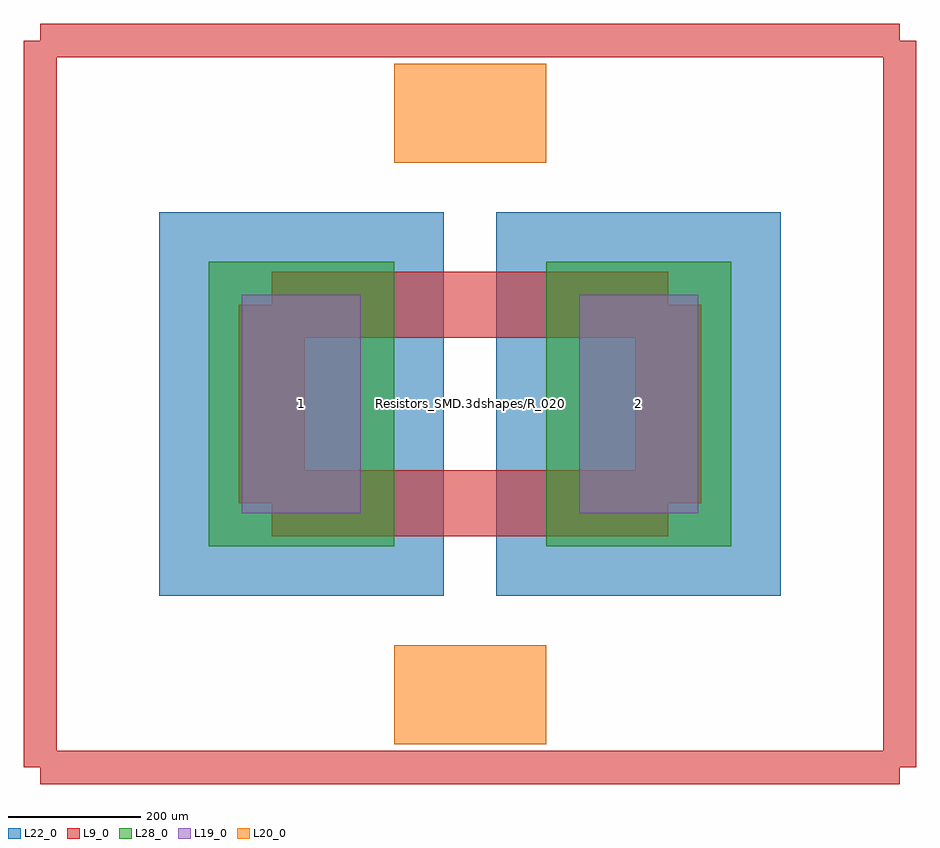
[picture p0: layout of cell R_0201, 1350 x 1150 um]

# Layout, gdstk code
import gdstk
lib = gdstk.Library(unit=1e-6, precision=1e-09)
def R(c, l, rs):  # rectangles x0, y0, x1, y1
    for r in rs: c.add(gdstk.rectangle(r[:2], r[2:], *l))
L9_0 = (9, 0)
L19_0 = (19, 0)
L20_0 = (20, 0)
L22_0 = (22, 0)
L28_0 = (28, 0)

r_0201 = lib.new_cell('R_0201')
R(r_0201, L19_0, [(-345,-165,-165,165), (165,-165,345,165)])
R(r_0201, L22_0, [(-470,-290,-40,290), (40,-290,470,290)])
R(r_0201, L28_0, [(-395,-215,-115,215), (115,-215,395,215)])
r_0201.add(gdstk.FlexPath([(-115,-440),(115,-440)], 149.998, ends="flush", simple_path=True, layer=20, datatype=0))  # L20_0
r_0201.add(gdstk.FlexPath([(115,440),(-115,440)], 149.998, ends="flush", simple_path=True, layer=20, datatype=0))  # L20_0
r_0201.add(gdstk.FlexPath([(650,550),(650,-550)], 50, ends="flush", simple_path=True, layer=9, datatype=0))  # L9_0
r_0201.add(gdstk.FlexPath([(-650,550),(-650,-550)], 50, ends="flush", simple_path=True, layer=9, datatype=0))  # L9_0
r_0201.add(gdstk.FlexPath([(-650,-550),(650,-550)], 50, ends="flush", simple_path=True, layer=9, datatype=0))  # L9_0
r_0201.add(gdstk.FlexPath([(-650,550),(650,550)], 50, ends="flush", simple_path=True, layer=9, datatype=0))  # L9_0
r_0201.add(gdstk.FlexPath([(-300,150),(300,150)], 100, ends="flush", simple_path=True, layer=9, datatype=0))  # L9_0
r_0201.add(gdstk.FlexPath([(300,150),(300,-150)], 100, ends="flush", simple_path=True, layer=9, datatype=0))  # L9_0
r_0201.add(gdstk.FlexPath([(300,-150),(-300,-150)], 100, ends="flush", simple_path=True, layer=9, datatype=0))  # L9_0
r_0201.add(gdstk.FlexPath([(-300,-150),(-300,150)], 100, ends="flush", simple_path=True, layer=9, datatype=0))  # L9_0
r_0201.add(gdstk.Label('Resistors_SMD.3dshapes/R_0201.wrl', (0,0), layer=12, texttype=0))
r_0201.add(gdstk.Label('2', (255,0), layer=28, texttype=0))
r_0201.add(gdstk.Label('1', (-255,0), layer=28, texttype=0))
r_0201.add(gdstk.Label('type', (0,-1700), layer=9, texttype=0))
r_0201.add(gdstk.Label('devicename', (0,1700), layer=9, texttype=0))

lib.write_gds('R_0201.gds')
